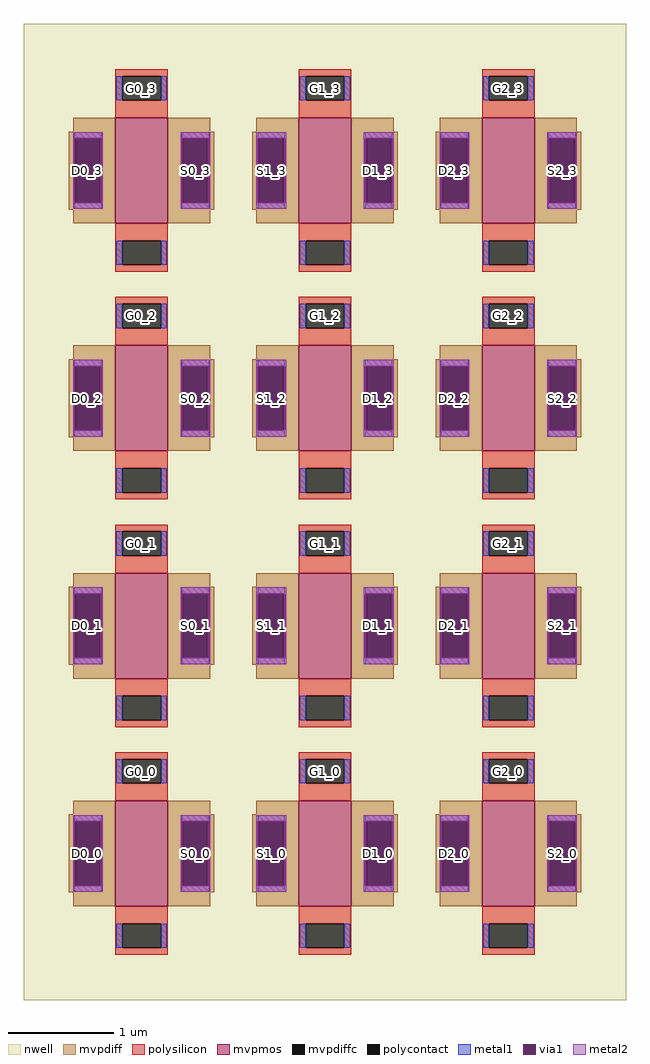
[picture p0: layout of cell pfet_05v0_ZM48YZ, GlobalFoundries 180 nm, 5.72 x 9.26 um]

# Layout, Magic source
magic
tech gf180mcuD
magscale 1 10
<< nwell >>
rect -572 -926 572 926
<< mvpmos >>
rect -398 548 -298 748
rect -50 548 50 748
rect 298 548 398 748
rect -398 116 -298 316
rect -50 116 50 316
rect 298 116 398 316
rect -398 -316 -298 -116
rect -50 -316 50 -116
rect 298 -316 398 -116
rect -398 -748 -298 -548
rect -50 -748 50 -548
rect 298 -748 398 -548
<< mvpdiff >>
rect -478 722 -398 748
rect -486 709 -398 722
rect -486 587 -473 709
rect -427 587 -398 709
rect -486 574 -398 587
rect -478 548 -398 574
rect -298 722 -218 748
rect -130 722 -50 748
rect -298 709 -210 722
rect -298 587 -269 709
rect -223 587 -210 709
rect -298 574 -210 587
rect -138 709 -50 722
rect -138 587 -125 709
rect -79 587 -50 709
rect -138 574 -50 587
rect -298 548 -218 574
rect -130 548 -50 574
rect 50 722 130 748
rect 218 722 298 748
rect 50 709 138 722
rect 50 587 79 709
rect 125 587 138 709
rect 50 574 138 587
rect 210 709 298 722
rect 210 587 223 709
rect 269 587 298 709
rect 210 574 298 587
rect 50 548 130 574
rect 218 548 298 574
rect 398 722 478 748
rect 398 709 486 722
rect 398 587 427 709
rect 473 587 486 709
rect 398 574 486 587
rect 398 548 478 574
rect -478 290 -398 316
rect -486 277 -398 290
rect -486 155 -473 277
rect -427 155 -398 277
rect -486 142 -398 155
rect -478 116 -398 142
rect -298 290 -218 316
rect -130 290 -50 316
rect -298 277 -210 290
rect -298 155 -269 277
rect -223 155 -210 277
rect -298 142 -210 155
rect -138 277 -50 290
rect -138 155 -125 277
rect -79 155 -50 277
rect -138 142 -50 155
rect -298 116 -218 142
rect -130 116 -50 142
rect 50 290 130 316
rect 218 290 298 316
rect 50 277 138 290
rect 50 155 79 277
rect 125 155 138 277
rect 50 142 138 155
rect 210 277 298 290
rect 210 155 223 277
rect 269 155 298 277
rect 210 142 298 155
rect 50 116 130 142
rect 218 116 298 142
rect 398 290 478 316
rect 398 277 486 290
rect 398 155 427 277
rect 473 155 486 277
rect 398 142 486 155
rect 398 116 478 142
rect -478 -142 -398 -116
rect -486 -155 -398 -142
rect -486 -277 -473 -155
rect -427 -277 -398 -155
rect -486 -290 -398 -277
rect -478 -316 -398 -290
rect -298 -142 -218 -116
rect -130 -142 -50 -116
rect -298 -155 -210 -142
rect -298 -277 -269 -155
rect -223 -277 -210 -155
rect -298 -290 -210 -277
rect -138 -155 -50 -142
rect -138 -277 -125 -155
rect -79 -277 -50 -155
rect -138 -290 -50 -277
rect -298 -316 -218 -290
rect -130 -316 -50 -290
rect 50 -142 130 -116
rect 218 -142 298 -116
rect 50 -155 138 -142
rect 50 -277 79 -155
rect 125 -277 138 -155
rect 50 -290 138 -277
rect 210 -155 298 -142
rect 210 -277 223 -155
rect 269 -277 298 -155
rect 210 -290 298 -277
rect 50 -316 130 -290
rect 218 -316 298 -290
rect 398 -142 478 -116
rect 398 -155 486 -142
rect 398 -277 427 -155
rect 473 -277 486 -155
rect 398 -290 486 -277
rect 398 -316 478 -290
rect -478 -574 -398 -548
rect -486 -587 -398 -574
rect -486 -709 -473 -587
rect -427 -709 -398 -587
rect -486 -722 -398 -709
rect -478 -748 -398 -722
rect -298 -574 -218 -548
rect -130 -574 -50 -548
rect -298 -587 -210 -574
rect -298 -709 -269 -587
rect -223 -709 -210 -587
rect -298 -722 -210 -709
rect -138 -587 -50 -574
rect -138 -709 -125 -587
rect -79 -709 -50 -587
rect -138 -722 -50 -709
rect -298 -748 -218 -722
rect -130 -748 -50 -722
rect 50 -574 130 -548
rect 218 -574 298 -548
rect 50 -587 138 -574
rect 50 -709 79 -587
rect 125 -709 138 -587
rect 50 -722 138 -709
rect 210 -587 298 -574
rect 210 -709 223 -587
rect 269 -709 298 -587
rect 210 -722 298 -709
rect 50 -748 130 -722
rect 218 -748 298 -722
rect 398 -574 478 -548
rect 398 -587 486 -574
rect 398 -709 427 -587
rect 473 -709 486 -587
rect 398 -722 486 -709
rect 398 -748 478 -722
<< mvpdiffc >>
rect -473 587 -427 709
rect -269 587 -223 709
rect -125 587 -79 709
rect 79 587 125 709
rect 223 587 269 709
rect 427 587 473 709
rect -473 155 -427 277
rect -269 155 -223 277
rect -125 155 -79 277
rect 79 155 125 277
rect 223 155 269 277
rect 427 155 473 277
rect -473 -277 -427 -155
rect -269 -277 -223 -155
rect -125 -277 -79 -155
rect 79 -277 125 -155
rect 223 -277 269 -155
rect 427 -277 473 -155
rect -473 -709 -427 -587
rect -269 -709 -223 -587
rect -125 -709 -79 -587
rect 79 -709 125 -587
rect 223 -709 269 -587
rect 427 -709 473 -587
<< polysilicon >>
rect -398 827 -298 840
rect -398 781 -385 827
rect -311 781 -298 827
rect -398 748 -298 781
rect -50 827 50 840
rect -50 781 -37 827
rect 37 781 50 827
rect -50 748 50 781
rect 298 827 398 840
rect 298 781 311 827
rect 385 781 398 827
rect 298 748 398 781
rect -398 515 -298 548
rect -398 469 -385 515
rect -311 469 -298 515
rect -398 456 -298 469
rect -50 515 50 548
rect -50 469 -37 515
rect 37 469 50 515
rect -50 456 50 469
rect 298 515 398 548
rect 298 469 311 515
rect 385 469 398 515
rect 298 456 398 469
rect -398 395 -298 408
rect -398 349 -385 395
rect -311 349 -298 395
rect -398 316 -298 349
rect -50 395 50 408
rect -50 349 -37 395
rect 37 349 50 395
rect -50 316 50 349
rect 298 395 398 408
rect 298 349 311 395
rect 385 349 398 395
rect 298 316 398 349
rect -398 83 -298 116
rect -398 37 -385 83
rect -311 37 -298 83
rect -398 24 -298 37
rect -50 83 50 116
rect -50 37 -37 83
rect 37 37 50 83
rect -50 24 50 37
rect 298 83 398 116
rect 298 37 311 83
rect 385 37 398 83
rect 298 24 398 37
rect -398 -37 -298 -24
rect -398 -83 -385 -37
rect -311 -83 -298 -37
rect -398 -116 -298 -83
rect -50 -37 50 -24
rect -50 -83 -37 -37
rect 37 -83 50 -37
rect -50 -116 50 -83
rect 298 -37 398 -24
rect 298 -83 311 -37
rect 385 -83 398 -37
rect 298 -116 398 -83
rect -398 -349 -298 -316
rect -398 -395 -385 -349
rect -311 -395 -298 -349
rect -398 -408 -298 -395
rect -50 -349 50 -316
rect -50 -395 -37 -349
rect 37 -395 50 -349
rect -50 -408 50 -395
rect 298 -349 398 -316
rect 298 -395 311 -349
rect 385 -395 398 -349
rect 298 -408 398 -395
rect -398 -469 -298 -456
rect -398 -515 -385 -469
rect -311 -515 -298 -469
rect -398 -548 -298 -515
rect -50 -469 50 -456
rect -50 -515 -37 -469
rect 37 -515 50 -469
rect -50 -548 50 -515
rect 298 -469 398 -456
rect 298 -515 311 -469
rect 385 -515 398 -469
rect 298 -548 398 -515
rect -398 -781 -298 -748
rect -398 -827 -385 -781
rect -311 -827 -298 -781
rect -398 -840 -298 -827
rect -50 -781 50 -748
rect -50 -827 -37 -781
rect 37 -827 50 -781
rect -50 -840 50 -827
rect 298 -781 398 -748
rect 298 -827 311 -781
rect 385 -827 398 -781
rect 298 -840 398 -827
<< polycontact >>
rect -385 781 -311 827
rect -37 781 37 827
rect 311 781 385 827
rect -385 469 -311 515
rect -37 469 37 515
rect 311 469 385 515
rect -385 349 -311 395
rect -37 349 37 395
rect 311 349 385 395
rect -385 37 -311 83
rect -37 37 37 83
rect 311 37 385 83
rect -385 -83 -311 -37
rect -37 -83 37 -37
rect 311 -83 385 -37
rect -385 -395 -311 -349
rect -37 -395 37 -349
rect 311 -395 385 -349
rect -385 -515 -311 -469
rect -37 -515 37 -469
rect 311 -515 385 -469
rect -385 -827 -311 -781
rect -37 -827 37 -781
rect 311 -827 385 -781
<< metal1 >>
rect -396 781 -385 827
rect -311 781 -300 827
rect -48 781 -37 827
rect 37 781 48 827
rect 300 781 311 827
rect 385 781 396 827
rect -476 709 -424 721
rect -476 575 -424 587
rect -272 709 -220 721
rect -272 575 -220 587
rect -128 709 -76 721
rect -128 575 -76 587
rect 76 709 128 721
rect 76 575 128 587
rect 220 709 272 721
rect 220 575 272 587
rect 424 709 476 721
rect 424 575 476 587
rect -396 469 -385 515
rect -311 469 -300 515
rect -48 469 -37 515
rect 37 469 48 515
rect 300 469 311 515
rect 385 469 396 515
rect -396 349 -385 395
rect -311 349 -300 395
rect -48 349 -37 395
rect 37 349 48 395
rect 300 349 311 395
rect 385 349 396 395
rect -476 277 -424 289
rect -476 143 -424 155
rect -272 277 -220 289
rect -272 143 -220 155
rect -128 277 -76 289
rect -128 143 -76 155
rect 76 277 128 289
rect 76 143 128 155
rect 220 277 272 289
rect 220 143 272 155
rect 424 277 476 289
rect 424 143 476 155
rect -396 37 -385 83
rect -311 37 -300 83
rect -48 37 -37 83
rect 37 37 48 83
rect 300 37 311 83
rect 385 37 396 83
rect -396 -83 -385 -37
rect -311 -83 -300 -37
rect -48 -83 -37 -37
rect 37 -83 48 -37
rect 300 -83 311 -37
rect 385 -83 396 -37
rect -476 -155 -424 -143
rect -476 -289 -424 -277
rect -272 -155 -220 -143
rect -272 -289 -220 -277
rect -128 -155 -76 -143
rect -128 -289 -76 -277
rect 76 -155 128 -143
rect 76 -289 128 -277
rect 220 -155 272 -143
rect 220 -289 272 -277
rect 424 -155 476 -143
rect 424 -289 476 -277
rect -396 -395 -385 -349
rect -311 -395 -300 -349
rect -48 -395 -37 -349
rect 37 -395 48 -349
rect 300 -395 311 -349
rect 385 -395 396 -349
rect -396 -515 -385 -469
rect -311 -515 -300 -469
rect -48 -515 -37 -469
rect 37 -515 48 -469
rect 300 -515 311 -469
rect 385 -515 396 -469
rect -476 -587 -424 -575
rect -476 -721 -424 -709
rect -272 -587 -220 -575
rect -272 -721 -220 -709
rect -128 -587 -76 -575
rect -128 -721 -76 -709
rect 76 -587 128 -575
rect 76 -721 128 -709
rect 220 -587 272 -575
rect 220 -721 272 -709
rect 424 -587 476 -575
rect 424 -721 476 -709
rect -396 -827 -385 -781
rect -311 -827 -300 -781
rect -48 -827 -37 -781
rect 37 -827 48 -781
rect 300 -827 311 -781
rect 385 -827 396 -781
<< via1 >>
rect -476 587 -473 709
rect -473 587 -427 709
rect -427 587 -424 709
rect -272 587 -269 709
rect -269 587 -223 709
rect -223 587 -220 709
rect -128 587 -125 709
rect -125 587 -79 709
rect -79 587 -76 709
rect 76 587 79 709
rect 79 587 125 709
rect 125 587 128 709
rect 220 587 223 709
rect 223 587 269 709
rect 269 587 272 709
rect 424 587 427 709
rect 427 587 473 709
rect 473 587 476 709
rect -476 155 -473 277
rect -473 155 -427 277
rect -427 155 -424 277
rect -272 155 -269 277
rect -269 155 -223 277
rect -223 155 -220 277
rect -128 155 -125 277
rect -125 155 -79 277
rect -79 155 -76 277
rect 76 155 79 277
rect 79 155 125 277
rect 125 155 128 277
rect 220 155 223 277
rect 223 155 269 277
rect 269 155 272 277
rect 424 155 427 277
rect 427 155 473 277
rect 473 155 476 277
rect -476 -277 -473 -155
rect -473 -277 -427 -155
rect -427 -277 -424 -155
rect -272 -277 -269 -155
rect -269 -277 -223 -155
rect -223 -277 -220 -155
rect -128 -277 -125 -155
rect -125 -277 -79 -155
rect -79 -277 -76 -155
rect 76 -277 79 -155
rect 79 -277 125 -155
rect 125 -277 128 -155
rect 220 -277 223 -155
rect 223 -277 269 -155
rect 269 -277 272 -155
rect 424 -277 427 -155
rect 427 -277 473 -155
rect 473 -277 476 -155
rect -476 -709 -473 -587
rect -473 -709 -427 -587
rect -427 -709 -424 -587
rect -272 -709 -269 -587
rect -269 -709 -223 -587
rect -223 -709 -220 -587
rect -128 -709 -125 -587
rect -125 -709 -79 -587
rect -79 -709 -76 -587
rect 76 -709 79 -587
rect 79 -709 125 -587
rect 125 -709 128 -587
rect 220 -709 223 -587
rect 223 -709 269 -587
rect 269 -709 272 -587
rect 424 -709 427 -587
rect 427 -709 473 -587
rect 473 -709 476 -587
<< metal2 >>
rect -478 709 -422 721
rect -478 587 -476 709
rect -424 587 -422 709
rect -478 575 -422 587
rect -274 709 -218 721
rect -274 587 -272 709
rect -220 587 -218 709
rect -274 575 -218 587
rect -130 709 -74 721
rect -130 587 -128 709
rect -76 587 -74 709
rect -130 575 -74 587
rect 74 709 130 721
rect 74 587 76 709
rect 128 587 130 709
rect 74 575 130 587
rect 218 709 274 721
rect 218 587 220 709
rect 272 587 274 709
rect 218 575 274 587
rect 422 709 478 721
rect 422 587 424 709
rect 476 587 478 709
rect 422 575 478 587
rect -478 277 -422 289
rect -478 155 -476 277
rect -424 155 -422 277
rect -478 143 -422 155
rect -274 277 -218 289
rect -274 155 -272 277
rect -220 155 -218 277
rect -274 143 -218 155
rect -130 277 -74 289
rect -130 155 -128 277
rect -76 155 -74 277
rect -130 143 -74 155
rect 74 277 130 289
rect 74 155 76 277
rect 128 155 130 277
rect 74 143 130 155
rect 218 277 274 289
rect 218 155 220 277
rect 272 155 274 277
rect 218 143 274 155
rect 422 277 478 289
rect 422 155 424 277
rect 476 155 478 277
rect 422 143 478 155
rect -478 -155 -422 -143
rect -478 -277 -476 -155
rect -424 -277 -422 -155
rect -478 -289 -422 -277
rect -274 -155 -218 -143
rect -274 -277 -272 -155
rect -220 -277 -218 -155
rect -274 -289 -218 -277
rect -130 -155 -74 -143
rect -130 -277 -128 -155
rect -76 -277 -74 -155
rect -130 -289 -74 -277
rect 74 -155 130 -143
rect 74 -277 76 -155
rect 128 -277 130 -155
rect 74 -289 130 -277
rect 218 -155 274 -143
rect 218 -277 220 -155
rect 272 -277 274 -155
rect 218 -289 274 -277
rect 422 -155 478 -143
rect 422 -277 424 -155
rect 476 -277 478 -155
rect 422 -289 478 -277
rect -478 -587 -422 -575
rect -478 -709 -476 -587
rect -424 -709 -422 -587
rect -478 -721 -422 -709
rect -274 -587 -218 -575
rect -274 -709 -272 -587
rect -220 -709 -218 -587
rect -274 -721 -218 -709
rect -130 -587 -74 -575
rect -130 -709 -128 -587
rect -76 -709 -74 -587
rect -130 -721 -74 -709
rect 74 -587 130 -575
rect 74 -709 76 -587
rect 128 -709 130 -587
rect 74 -721 130 -709
rect 218 -587 274 -575
rect 218 -709 220 -587
rect 272 -709 274 -587
rect 218 -721 274 -709
rect 422 -587 478 -575
rect 422 -709 424 -587
rect 476 -709 478 -587
rect 422 -721 478 -709
<< labels >>
rlabel mvpdiffc -450 -648 -450 -648 0 D0_0
port 1 nsew
rlabel mvpdiffc -246 -648 -246 -648 0 S0_0
port 2 nsew
rlabel polycontact -348 -492 -348 -492 0 G0_0
port 3 nsew
rlabel mvpdiffc -450 -216 -450 -216 0 D0_1
port 4 nsew
rlabel mvpdiffc -246 -216 -246 -216 0 S0_1
port 5 nsew
rlabel polycontact -348 -60 -348 -60 0 G0_1
port 6 nsew
rlabel mvpdiffc -450 216 -450 216 0 D0_2
port 7 nsew
rlabel mvpdiffc -246 216 -246 216 0 S0_2
port 8 nsew
rlabel polycontact -348 372 -348 372 0 G0_2
port 9 nsew
rlabel mvpdiffc -450 648 -450 648 0 D0_3
port 10 nsew
rlabel mvpdiffc -246 648 -246 648 0 S0_3
port 11 nsew
rlabel polycontact -348 804 -348 804 0 G0_3
port 12 nsew
rlabel mvpdiffc 102 -648 102 -648 0 D1_0
port 13 nsew
rlabel mvpdiffc -102 -648 -102 -648 0 S1_0
port 14 nsew
rlabel polycontact 0 -492 0 -492 0 G1_0
port 15 nsew
rlabel mvpdiffc 102 -216 102 -216 0 D1_1
port 16 nsew
rlabel mvpdiffc -102 -216 -102 -216 0 S1_1
port 17 nsew
rlabel polycontact 0 -60 0 -60 0 G1_1
port 18 nsew
rlabel mvpdiffc 102 216 102 216 0 D1_2
port 19 nsew
rlabel mvpdiffc -102 216 -102 216 0 S1_2
port 20 nsew
rlabel polycontact 0 372 0 372 0 G1_2
port 21 nsew
rlabel mvpdiffc 102 648 102 648 0 D1_3
port 22 nsew
rlabel mvpdiffc -102 648 -102 648 0 S1_3
port 23 nsew
rlabel polycontact 0 804 0 804 0 G1_3
port 24 nsew
rlabel mvpdiffc 246 -648 246 -648 0 D2_0
port 25 nsew
rlabel mvpdiffc 450 -648 450 -648 0 S2_0
port 26 nsew
rlabel polycontact 348 -492 348 -492 0 G2_0
port 27 nsew
rlabel mvpdiffc 246 -216 246 -216 0 D2_1
port 28 nsew
rlabel mvpdiffc 450 -216 450 -216 0 S2_1
port 29 nsew
rlabel polycontact 348 -60 348 -60 0 G2_1
port 30 nsew
rlabel mvpdiffc 246 216 246 216 0 D2_2
port 31 nsew
rlabel mvpdiffc 450 216 450 216 0 S2_2
port 32 nsew
rlabel polycontact 348 372 348 372 0 G2_2
port 33 nsew
rlabel mvpdiffc 246 648 246 648 0 D2_3
port 34 nsew
rlabel mvpdiffc 450 648 450 648 0 S2_3
port 35 nsew
rlabel polycontact 348 804 348 804 0 G2_3
port 36 nsew
<< properties >>
string gencell pfet_05v0
string library gf180mcu
string parameters w 1.0 l 0.5 m 4 nf 3 diffcov 70 polycov 100 guard 0 glc 0 grc 0 gtc 0 gbc 0 tbcov 100 rlcov 100 topc 1 botc 1 poverlap 0 doverlap 0 lmin 0.5 wmin 0.3 class mosfet full_metal 0 viasrc 70 viadrn 70 viagate 0 viagb 0 viagr 0 viagl 0 viagt 0 doports 1 compatible {pfet_03v3 pfet_05v0 pfet_06v0}
<< end >>
